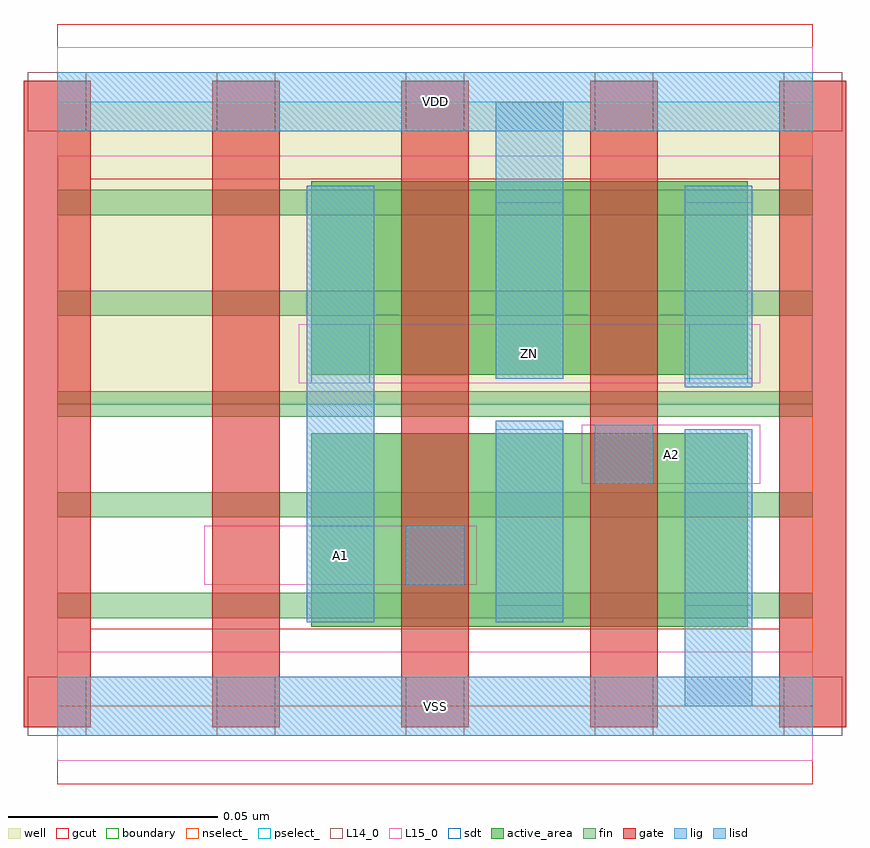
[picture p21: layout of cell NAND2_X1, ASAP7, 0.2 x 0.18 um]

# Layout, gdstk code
import gdstk
lib = gdstk.Library(unit=1e-6, precision=2.5e-10)
def R(c, l, rs):  # rectangles x0, y0, x1, y1
    for r in rs: c.add(gdstk.rectangle(r[:2], r[2:], *l))
def A(c, l, x, y, w, h, nx, ny, dx, dy):  # array of equal rectangles
    R(c, l, [(x+i*dx, y+j*dy, x+i*dx+w, y+j*dy+h) for i in range(nx) for j in range(ny)])
well = (1, 0)
fin = (2, 0)
gate = (7, 0)
gcut = (10, 0)
active_area = (11, 0)
nselect_ = (12, 0)
pselect_ = (13, 0)
L14_0 = (14, 0)
L15_0 = (15, 0)
lig = (16, 0)
lisd = (17, 0)
sdt = (88, 0)
boundary = (100, 0)

nand2_x1 = lib.new_cell('NAND2_X1')
R(nand2_x1, well, [(0,0.072,0.18,0.144)])
A(nand2_x1, fin, 0, 0.021, 0.18, 0.006, 1, 5, 0, 0.024)
A(nand2_x1, gate, -0.008, -0.005, 0.016, 0.154, 5, 1, 0.045, 0)
R(nand2_x1, gcut, [(0,-0.0185,0.18,0.0185), (-0.008,-0.005,0.008,0.149), (0.172,-0.005,0.188,0.149), (0,0.1255,0.18,0.1625)])
R(nand2_x1, active_area, [(0.0605,0.019,0.1195,0.065), (0.1055,0.019,0.1645,0.065), (0.0605,0.079,0.1195,0.125), (0.1055,0.079,0.1645,0.125)])
R(nand2_x1, nselect_, [(0,0,0.18,0.072)])
R(nand2_x1, pselect_, [(0,0.072,0.18,0.144)])
A(nand2_x1, L14_0, -0.007, -0.007, 0.014, 0.014, 5, 2, 0.045, 0.144)
R(nand2_x1, L14_0, [(0.083,0.029,0.097,0.043), (0.128,0.053,0.142,0.067), (0.0605,0.077,0.0745,0.091), (0.1505,0.077,0.1645,0.091)])
R(nand2_x1, L15_0, [(0,-0.013,0.18,0.013), (0.035,0.029,0.1,0.043), (0.125,0.053,0.1675,0.067), (0.0575,0.077,0.1675,0.091), (0,0.131,0.18,0.157)])
R(nand2_x1, lig, [(0,-0.007,0.18,0.007), (0.083,0.029,0.097,0.043), (0.128,0.053,0.142,0.067), (0,0.137,0.18,0.151)])
R(nand2_x1, lisd, [(0.1495,0,0.1655,0.066), (0.0595,0.02,0.0755,0.124), (0.1045,0.02,0.1205,0.068), (0.1045,0.02,0.1205,0.068), (0.1495,0.076,0.1655,0.124), (0.1045,0.078,0.1205,0.144), (0.1045,0.078,0.1205,0.144)])
R(nand2_x1, sdt, [(0.0595,0.02,0.0755,0.124), (0.1045,0.024,0.1205,0.066), (0.1045,0.024,0.1205,0.066), (0.1495,0.024,0.1655,0.066), (0.1045,0.078,0.1205,0.12), (0.1045,0.078,0.1205,0.12), (0.1495,0.078,0.1655,0.12)])
R(nand2_x1, boundary, [(0,0,0.18,0.144)])
nand2_x1.add(gdstk.Label('VDD', (0.09,0.144), layer=1, texttype=251))
nand2_x1.add(gdstk.Label('VSS', (0.09,0), layer=3, texttype=251))
nand2_x1.add(gdstk.Label('A1', (0.0675,0.036), layer=15, texttype=251))
nand2_x1.add(gdstk.Label('ZN', (0.1125,0.084), layer=15, texttype=251))
nand2_x1.add(gdstk.Label('A2', (0.1462,0.06), layer=15, texttype=251))
nand2_x1.add(gdstk.Label('VSS', (0.09,0), layer=15, texttype=251))
nand2_x1.add(gdstk.Label('VDD', (0.09,0.144), layer=15, texttype=251))

lib.write_gds('NAND2_X1.gds')
